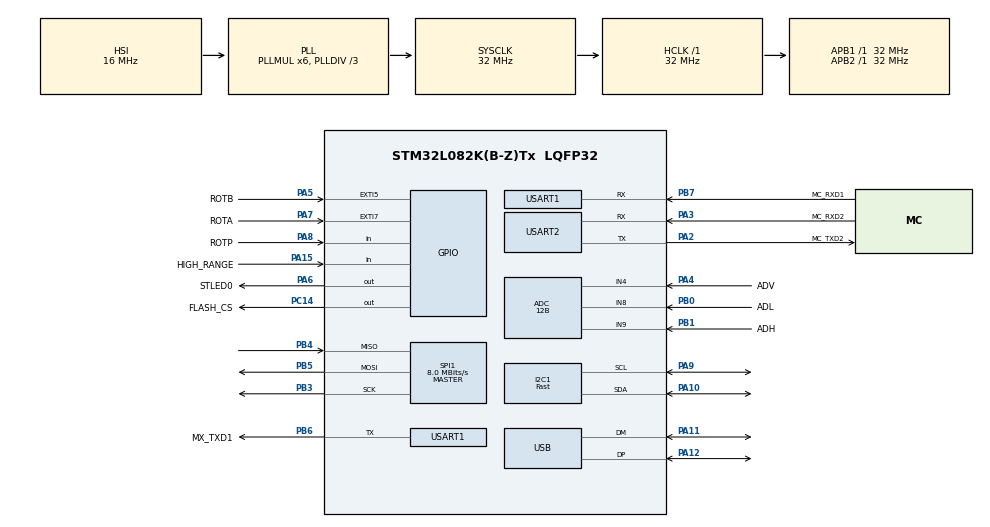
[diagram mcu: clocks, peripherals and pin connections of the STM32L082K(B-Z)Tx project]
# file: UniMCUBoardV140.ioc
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ADC.ClockPrescaler=ADC_CLOCK_ASYNC_DIV64
ADC.ContinuousConvMode=ENABLE
ADC.DMAContinuousRequests=ENABLE
ADC.DataAlign=ADC_DATAALIGN_RIGHT
ADC.DiscontinuousConvMode=DISABLE
ADC.EOCSelection=ADC_EOC_SEQ_CONV
ADC.EnableAnalogWatchDog=false
ADC.ExternalTrigConv=ADC_EXTERNALTRIGCONV_T22_TRGO
ADC.ExternalTrigConvEdge=ADC_EXTERNALTRIGCONVEDGE_RISING
ADC.LowPowerAutoPowerOff=DISABLE
ADC.LowPowerAutoWait=DISABLE
ADC.LowPowerFrequencyMode=DISABLE
ADC.Overrun=ADC_OVR_DATA_PRESERVED
ADC.OversamplingMode=DISABLE
ADC.Resolution=ADC_RESOLUTION_12B
ADC.SamplingTime=ADC_SAMPLETIME_160CYCLES_5
ADC.ScanConvMode=ADC_SCAN_DIRECTION_FORWARD
Dma.ADC.0.Direction=DMA_PERIPH_TO_MEMORY
Dma.ADC.0.Instance=DMA1_Channel1
Dma.ADC.0.MemDataAlignment=DMA_MDATAALIGN_WORD
Dma.ADC.0.MemInc=DMA_MINC_ENABLE
Dma.ADC.0.Mode=DMA_CIRCULAR
Dma.ADC.0.PeriphDataAlignment=DMA_PDATAALIGN_WORD
Dma.ADC.0.PeriphInc=DMA_PINC_DISABLE
Dma.ADC.0.Priority=DMA_PRIORITY_LOW
Dma.Request0=ADC
I2C1.I2C_Speed_Mode=I2C_Fast
I2C1.Timing=0x00300F38
Mcu.Family=STM32L0
Mcu.Name=STM32L082K(B-Z)Tx
Mcu.Package=LQFP32
NVIC.DMA1_Channel1_IRQn=true\:0\:0\:false\:false\:true\:false
NVIC.TIM6_DAC_IRQn=true\:0\:0\:false\:false\:true\:true
NVIC.TIM7_IRQn=true\:0\:0\:false\:false\:true\:true
NVIC.USART1_IRQn=true\:0\:0\:false\:false\:true\:true
NVIC.USART2_IRQn=true\:0\:0\:false\:false\:true\:true
NVIC.USB_IRQn=true\:0\:0\:false\:false\:true\:false
PA10.Mode=I2C
PA10.Signal=I2C1_SDA
PA11.Mode=Device
PA11.Signal=USB_DM
PA12.Mode=Device
PA12.Signal=USB_DP
PA13.Mode=Serial_Wire
PA13.Signal=SYS_SWDIO
PA14.Mode=Serial_Wire
PA14.Signal=SYS_SWCLK
PA15.GPIO_Label=HIGH_RANGE
PA15.Signal=GPIO_Input
PA2.GPIO_Label=MC_TXD2
PA2.Mode=Asynchronous
PA2.Signal=USART2_TX
PA3.GPIO_Label=MC_RXD2
PA3.Mode=Asynchronous
PA3.Signal=USART2_RX
PA4.GPIO_Label=ADV
PA4.Mode=IN4
PA4.Signal=ADC_IN4
PA5.GPIO_Label=ROTB
PA5.Signal=GPXTI5
PA6.GPIO_Label=STLED0
PA6.Signal=GPIO_Output
PA7.GPIO_Label=ROTA
PA7.Signal=GPXTI7
PA8.GPIO_Label=ROTP
PA8.Signal=GPIO_Input
PA9.Mode=I2C
PA9.Signal=I2C1_SCL
PB0.GPIO_Label=ADL
PB0.Mode=IN8
PB0.Signal=ADC_IN8
PB1.GPIO_Label=ADH
PB1.Mode=IN9
PB1.Signal=ADC_IN9
PB3.Mode=Full_Duplex_Master
PB3.Signal=SPI1_SCK
PB4.Mode=Full_Duplex_Master
PB4.Signal=SPI1_MISO
PB5.Mode=Full_Duplex_Master
PB5.Signal=SPI1_MOSI
PB6.GPIO_Label=MX_TXD1
PB6.Mode=Asynchronous
PB6.Signal=USART1_TX
PB7.GPIO_Label=MC_RXD1
PB7.Mode=Asynchronous
PB7.Signal=USART1_RX
PC14-OSC32_IN.GPIO_Label=FLASH_CS
PC14-OSC32_IN.Signal=GPIO_Output
ProjectManager.HeapSize=0x200
ProjectManager.StackSize=0x400
ProjectManager.TargetToolchain=MDK-ARM V5
RCC.AHBFreq_Value=32000000
RCC.APB1Freq_Value=32000000
RCC.APB1TimFreq_Value=32000000
RCC.APB2Freq_Value=32000000
RCC.APB2TimFreq_Value=32000000
RCC.HCLKFreq_Value=32000000
RCC.HSI16_VALUE=16000000
RCC.HSI48MClockSelection=RCC_USBCLKSOURCE_HSI48
RCC.HSI48_VALUE=48000000
RCC.HSI_VALUE=16000000
RCC.LSE_VALUE=32768
RCC.MSI_VALUE=2097000
RCC.PLLDIV=RCC_PLLDIV_3
RCC.PLLMUL=RCC_PLLMUL_6
RCC.SYSCLKFreq_VALUE=32000000
RCC.SYSCLKSource=RCC_SYSCLKSOURCE_PLLCLK
RCC.VCOOutputFreq_Value=96000000
SPI1.BaudRatePrescaler=SPI_BAUDRATEPRESCALER_4
SPI1.CalculateBaudRate=8.0 MBits/s
SPI1.Direction=SPI_DIRECTION_2LINES
SPI1.Mode=SPI_MODE_MASTER
SPI1.VirtualType=VM_MASTER
TIM22.Period=999
TIM22.Prescaler=31
TIM22.TIM_MasterOutputTrigger=TIM_TRGO_UPDATE
TIM6.Period=10000
TIM6.Prescaler=32
TIM7.Period=1000
TIM7.Prescaler=32
USART1.VirtualMode-Asynchronous=VM_ASYNC
USART2.VirtualMode-Asynchronous=VM_ASYNC
USB_DEVICE.CLASS_NAME_FS=CUSTOMHID
USB_DEVICE.VirtualMode=CustomHid
USB_DEVICE.VirtualModeFS=Custom_Hid_FS
VP_ADC_TempSens_Input.Mode=IN-TempSens
VP_ADC_Vref_Input.Mode=IN-Vrefint
VP_IWDG_VS_IWDG.Mode=IWDG_Activate
VP_TIM22_VS_ClockSourceINT.Mode=Internal
VP_TIM6_VS_ClockSourceINT.Mode=Enable_Timer
VP_TIM7_VS_ClockSourceINT.Mode=Enable_Timer
VP_USB_DEVICE_VS_USB_DEVICE_CUSTOM_HID_FS.Mode=CUSTOM_HID_FS
board=custom

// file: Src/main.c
/**
  ******************************************************************************
  * @file           : main.c
  * @brief          : Main program body
  ******************************************************************************
  * This notice applies to any and all portions of this file
  * that are not between comment pairs USER CODE BEGIN and
  * USER CODE END. Other portions of this file, whether
  * inserted by the user or by software development tools
  * are owned by their respective copyright owners.
  *
  * Copyright (c) 2019 STMicroelectronics International N.V.
  * All rights reserved.
  *
  * Redistribution and use in source and binary forms, with or without
  * modification, are permitted, provided that the following conditions are met:
  *
  * 1. Redistribution of source code must retain the above copyright notice,
  *    this list of conditions and the following disclaimer.
  * 2. Redistributions in binary form must reproduce the above copyright notice,
  *    this list of conditions and the following disclaimer in the documentation
  *    and/or other materials provided with the distribution.
  * 3. Neither the name of STMicroelectronics nor the names of other
  *    contributors to this software may be used to endorse or promote products
  *    derived from this software without specific written permission.
  * 4. This software, including modifications and/or derivative works of this
  *    software, must execute solely and exclusively on microcontroller or
  *    microprocessor devices manufactured by or for STMicroelectronics.
  * 5. Redistribution and use of this software other than as permitted under
  *    this license is void and will automatically terminate your rights under
  *    this license.
  *
  * THIS SOFTWARE IS PROVIDED BY STMICROELECTRONICS AND CONTRIBUTORS "AS IS"
  * AND ANY EXPRESS, IMPLIED OR STATUTORY WARRANTIES, INCLUDING, BUT NOT
  * LIMITED TO, THE IMPLIED WARRANTIES OF MERCHANTABILITY, FITNESS FOR A
  * PARTICULAR PURPOSE AND NON-INFRINGEMENT OF THIRD PARTY INTELLECTUAL PROPERTY
  * RIGHTS ARE DISCLAIMED TO THE FULLEST EXTENT PERMITTED BY LAW. IN NO EVENT
  * SHALL STMICROELECTRONICS OR CONTRIBUTORS BE LIABLE FOR ANY DIRECT, INDIRECT,
  * INCIDENTAL, SPECIAL, EXEMPLARY, OR CONSEQUENTIAL DAMAGES (INCLUDING, BUT NOT
  * LIMITED TO, PROCUREMENT OF SUBSTITUTE GOODS OR SERVICES; LOSS OF USE, DATA,
  * OR PROFITS; OR BUSINESS INTERRUPTION) HOWEVER CAUSED AND ON ANY THEORY OF
  * LIABILITY, WHETHER IN CONTRACT, STRICT LIABILITY, OR TORT (INCLUDING
  * NEGLIGENCE OR OTHERWISE) ARISING IN ANY WAY OUT OF THE USE OF THIS SOFTWARE,
  * EVEN IF ADVISED OF THE POSSIBILITY OF SUCH DAMAGE.
  *
  ******************************************************************************
  */
#include "main.h"
#include "stm32l0xx_hal.h"
#include "usb_device.h"

/* USER CODE BEGIN Includes */
#include "ssd1306.h"

/* USER CODE END Includes */

ADC_HandleTypeDef hadc;
DMA_HandleTypeDef hdma_adc;

I2C_HandleTypeDef hi2c1;

IWDG_HandleTypeDef hiwdg;

SPI_HandleTypeDef hspi1;

TIM_HandleTypeDef htim6;
TIM_HandleTypeDef htim7;
TIM_HandleTypeDef htim22;

UART_HandleTypeDef huart1;
UART_HandleTypeDef huart2;

/* USER CODE BEGIN PV */
/* Private variables ---------------------------------------------------------*/
uint32_t OldTick100ms = 0;

///////// ADC Variables and Settings
#define ADC_NUMBER_OF_CHANNELS 5u
#define ADC_NUMBER_OF_SAMPLES 32u
#define ADC_ARRAY_SIZE (ADC_NUMBER_OF_CHANNELS * ADC_NUMBER_OF_SAMPLES) // 3 Channels and 32 samples

#define ADC_ADV 			0u 	// Voltage 						PA4 / AD CHANNEL 4
#define ADC_ADL				1u	// Current Low range 	PB0 / AD CHANNEL 8
#define ADC_ADH				2u 	// Current High range	PB9 / AD CHANNEL 9
#define ADC_INTVREF		3u	// Internal Channel
#define ADC_INTEMPE		4u	// Internal Channel

unsigned long ADCDmaBuffer[ADC_ARRAY_SIZE];
unsigned char ADCDone = 0;

_VoltageMeasurement_type	VoltageMeasurement;
_CurrentMeasurement_type	CurrentMeasurement;

// Display Variables
unsigned char DisplayPage = MAIN_DISPLAY_PAGE0;
unsigned char DisplayClrScr = 0;

volatile unsigned long SecondsTimer = 0;

/* USER CODE END PV */

void SystemClock_Config(void);
static void MX_GPIO_Init(void);
static void MX_DMA_Init(void);
static void MX_ADC_Init(void);
static void MX_I2C1_Init(void);
static void MX_IWDG_Init(void);
static void MX_TIM6_Init(void);
static void MX_TIM7_Init(void);
static void MX_USART1_UART_Init(void);
static void MX_USART2_UART_Init(void);
static void MX_TIM22_Init(void);
static void MX_SPI1_Init(void);

/* USER CODE BEGIN PFP */
/* Private function prototypes -----------------------------------------------*/
unsigned char GetANFHighRangeStatus(void);
void SetStatusLED(unsigned char LedState);

/* USER CODE END PFP */

/* USER CODE BEGIN 0 */

void HAL_SYSTICK_Callback(void)
{
	static unsigned int Count1sec = 0;

	if(++Count1sec >= 1000)
	{
		Count1sec = 0;
	  SecondsTimer++;
	}
}

// ADC ConvCallback
void HAL_ADC_ConvCpltCallback(ADC_HandleTypeDef* hadc1)
{
	HAL_ADC_Stop_DMA(&hadc);
	ADCDone = 1;
}

// Ovde radimo merenje napona sa AD konvertora
void ADTasks(void)
{
	unsigned long ADCRawAcu[ADC_NUMBER_OF_CHANNELS];
	unsigned short ADCRawFiltered[ADC_NUMBER_OF_CHANNELS];
	unsigned char Pointer, Sample;

	if(ADCDone == 0)
		return;

	ADCDone = 0;

	// Get results from DMA buffer
	ADCRawAcu[ADC_ADV] = 0;
	ADCRawAcu[ADC_ADL] = 0;
	ADCRawAcu[ADC_ADH] = 0;

	ADCRawAcu[ADC_INTEMPE] = 0;
	ADCRawAcu[ADC_INTVREF] = 0;

	Pointer = 0;

	for(Sample=0; Sample<ADC_NUMBER_OF_SAMPLES; Sample++)
	{

		ADCRawAcu[ADC_ADV] += ADCDmaBuffer[Pointer + 0];
		ADCRawAcu[ADC_ADL] += ADCDmaBuffer[Pointer + 1];
		ADCRawAcu[ADC_ADH] += ADCDmaBuffer[Pointer + 2];
		ADCRawAcu[ADC_INTEMPE] += ADCDmaBuffer[Pointer + 3];
		ADCRawAcu[ADC_INTVREF] += ADCDmaBuffer[Pointer + 4];

		Pointer += ADC_NUMBER_OF_CHANNELS;
	}

	ADCRawFiltered[ADC_ADV] = ADCRawAcu[ADC_ADV] / ADC_NUMBER_OF_SAMPLES;
	ADCRawFiltered[ADC_ADL] = ADCRawAcu[ADC_ADL] / ADC_NUMBER_OF_SAMPLES;
	ADCRawFiltered[ADC_ADH] = ADCRawAcu[ADC_ADH] / ADC_NUMBER_OF_SAMPLES;
	ADCRawFiltered[ADC_INTEMPE] = ADCRawAcu[ADC_INTEMPE] / ADC_NUMBER_OF_SAMPLES;
	ADCRawFiltered[ADC_INTVREF] = ADCRawAcu[ADC_INTVREF] / ADC_NUMBER_OF_SAMPLES;

	VoltageMeasurement.ADCRaw = ADCRawFiltered[ADC_ADV];
	CurrentMeasurement.ADCLChRaw = ADCRawFiltered[ADC_ADL];
	CurrentMeasurement.ADCHChRaw = ADCRawFiltered[ADC_ADH];

	/////////////////

	// This starts the ADC in interrupt mode
	HAL_ADC_Start_DMA(&hadc, (uint32_t*)&ADCDmaBuffer, ADC_ARRAY_SIZE);

	/////////////////

	// Measure Voltage Calculation
	#define RESISTOR_DIVIDER_UP	62.00 // 62k 0.1%
	#define RESISTOR_DIVIDER_DN	 4.70 // 4k7 0.1%

	float DividerRatio = (float)RESISTOR_DIVIDER_DN/((float)RESISTOR_DIVIDER_UP + (float)RESISTOR_DIVIDER_DN);
	VoltageMeasurement.ADCAverage = (float)VoltageMeasurement.ADCRaw * ((float)AD_REFERENCE/(float)AD_RESOLUTION) / (float) DividerRatio; //

	VoltageMeasurement.Cumulative += VoltageMeasurement.ADCAverage;

	// Measure Current Calculation ADL
	#define ADC_LO_RANGE_CURRENT	0.005 // 5mA
	#define ADC_LO_RANGE_VOLTAGE	2.500 // 2.5V

	#define ADC_HI_RANGE_CURRENT	2.000 // 2A
	#define ADC_HI_RANGE_VOLTAGE	2.500 // 2.5V

	CurrentMeasurement.ADCLChAverage = (float)CurrentMeasurement.ADCLChRaw * ((float)AD_REFERENCE/(float)AD_RESOLUTION) * (float)ADC_LO_RANGE_CURRENT / (float)ADC_LO_RANGE_VOLTAGE; //

	// Measure Current Calculation ADL
	CurrentMeasurement.ADCHChAverage = (float)CurrentMeasurement.ADCHChRaw * ((float)AD_REFERENCE/(float)AD_RESOLUTION) * (float)ADC_HI_RANGE_CURRENT / (float)ADC_HI_RANGE_VOLTAGE; //

	// Cumulative ADC measurements // Sample period 100ms
	if(GetANFHighRangeStatus() == ANF_HIGH_RANGE)
	{
		// HIGH RANGE

		SetStatusLED(LED_ON);

		CurrentMeasurement.ADCHCumulative += CurrentMeasurement.ADCHChAverage;
	}
	else
	{
		// LOW RANGE

		SetStatusLED(LED_OFF);

		CurrentMeasurement.ADCLCumulative += CurrentMeasurement.ADCLChAverage;
	}

	CurrentMeasurement.Samples ++;

}

void ShowDisplayTask(void)
{
	char LCDBuf[32];

	if(DisplayClrScr)
	{
		DisplayClrScr = 0;

		ssd1306_Fill(White);
		ssd1306_UpdateScreen();
	}

	switch (DisplayPage)
	{
		case MAIN_DISPLAY_PAGE0:
		{
			ssd1306_SetCursor(5,5);
			ssd1306_WriteString("mikroAMP V1",Font_11x18,Black);

			sprintf(LCDBuf, "Ihigh: %3.3fA", CurrentMeasurement.ADCHChAverage);
			ssd1306_SetCursor(5,24);
			ssd1306_WriteString(LCDBuf, Font_7x10,Black);

			sprintf(LCDBuf, "Ilow: %3.3fmA", CurrentMeasurement.ADCLChAverage * 1000.00);
			ssd1306_SetCursor(5,35);
			ssd1306_WriteString(LCDBuf, Font_7x10,Black);

			sprintf(LCDBuf, "Volt:%3.3fV", VoltageMeasurement.ADCAverage);
			ssd1306_SetCursor(5,46);
			ssd1306_WriteString(LCDBuf, Font_7x10,Black);
		}
		break;

		case MAIN_DISPLAY_PAGE1:
		{
			sprintf(LCDBuf, "Ih: %3.3fA", CurrentMeasurement.ADCHChAverage);
			ssd1306_SetCursor(5,10);
			ssd1306_WriteString(LCDBuf, Font_11x18,Black);

			sprintf(LCDBuf, "Il: %3.3fmA", CurrentMeasurement.ADCLChAverage * 1000.00);
			ssd1306_SetCursor(5,38);
			ssd1306_WriteString(LCDBuf, Font_11x18,Black);

		}
		break;

		case MAIN_DISPLAY_PAGE2:
		{
			sprintf(LCDBuf, "Ihigh [A]");
			ssd1306_SetCursor(5, 5);
			ssd1306_WriteString(LCDBuf, Font_11x18, Black);

			sprintf(LCDBuf, "%3.3f", CurrentMeasurement.ADCHChAverage);
			ssd1306_SetCursor(5, 32);
			ssd1306_WriteString(LCDBuf, Font_16x26, Black);
		}
		break;

		case MAIN_DISPLAY_PAGE3:
		{
			sprintf(LCDBuf, "Ilow [mA]");
			ssd1306_SetCursor(5, 5);
			ssd1306_WriteString(LCDBuf, Font_11x18, Black);

			sprintf(LCDBuf, "%3.3f", CurrentMeasurement.ADCLChAverage * 1000.00);
			ssd1306_SetCursor(5, 32);
			ssd1306_WriteString(LCDBuf, Font_16x26, Black);
		}
		break;

		case MAIN_DISPLAY_PAGE4:
		{
			sprintf(LCDBuf, "Voltage [V]");
			ssd1306_SetCursor(5, 5);
			ssd1306_WriteString(LCDBuf, Font_11x18, Black);

			sprintf(LCDBuf, "%3.3f", VoltageMeasurement.ADCAverage);
			ssd1306_SetCursor(5, 32);
			ssd1306_WriteString(LCDBuf, Font_16x26,Black);
		}
		break;

		case MAIN_DISPLAY_PAGE5: // Average Current summ in period of time
		{
			sprintf(LCDBuf, "Average:");
			ssd1306_SetCursor(5, 5);
			ssd1306_WriteString(LCDBuf, Font_11x18, Black);

			float CurrentCumulativeCalc;
			CurrentCumulativeCalc = ((float)CurrentMeasurement.ADCHCumulative + (float)CurrentMeasurement.ADCLCumulative) * 1000.00;
			CurrentCumulativeCalc /= (float)CurrentMeasurement.Samples; // We have 100ms sampling period, so must divide for 1sec resolution

			sprintf(LCDBuf, "%3.3f mA", CurrentCumulativeCalc);
			ssd1306_SetCursor(5, 25);
			ssd1306_WriteString(LCDBuf, Font_11x18,Black);

			unsigned char TimeHours;
			unsigned char TimeMinutes;
			unsigned char TimeSeconds;

			TimeHours = SecondsTimer / 3600;
			TimeMinutes = (SecondsTimer / 60) % 60;
			TimeSeconds = SecondsTimer % 60;

			sprintf(LCDBuf, "%02d:%02d:%02d", TimeHours, TimeMinutes, TimeSeconds);
			ssd1306_SetCursor(5, 43);
			ssd1306_WriteString(LCDBuf, Font_11x18,Black);
		}
		break;

		case MAIN_DISPLAY_PAGE6:
		{
			ssd1306_SetCursor(5,5);
			ssd1306_WriteString(DEVICE_NAME,Font_11x18,Black);

			sprintf(LCDBuf, FIRMWARE_VERSION);
			ssd1306_SetCursor(5,24);
			ssd1306_WriteString(LCDBuf, Font_7x10,Black);

			sprintf(LCDBuf, HARDWARE_VERSION);
			ssd1306_SetCursor(5,35);
			ssd1306_WriteString(LCDBuf, Font_7x10,Black);

			sprintf(LCDBuf, WEBSITE_INFO);
			ssd1306_SetCursor(5,46);
			ssd1306_WriteString(LCDBuf, Font_7x10,Black);
		}
		break;

		default:
			sprintf(LCDBuf, "Unknown page");
			ssd1306_SetCursor(0,5);
			ssd1306_WriteString(LCDBuf, Font_7x10,Black);
			break;

	}

	ssd1306_UpdateScreen();
}

void ButtonTask(void)
{
	static unsigned char Debounce = 0;
	static unsigned char ButtonIsPressedCnt = 0;

	if(HAL_GPIO_ReadPin(ROTP_GPIO_Port, ROTP_Pin) == GPIO_PIN_RESET) // Button is pressed
	{
		if(++ButtonIsPressedCnt > 30) // If button is pressed more than 5 seconds
		{
			ButtonIsPressedCnt = 30;

			if(DisplayPage == MAIN_DISPLAY_PAGE5) // Average Current Reset
			{
				// Reset Timer and Cumulative varibles
				SecondsTimer = 0;

				CurrentMeasurement.ADCHCumulative = 0.0;
				CurrentMeasurement.ADCLCumulative = 0.0;
				CurrentMeasurement.Samples = 0;
			}
		}
	}
	else
	{
		if((ButtonIsPressedCnt > 0) && (ButtonIsPressedCnt < 20)) // Short Button Press
		{
			if(++DisplayPage > MAIN_DISPLAY_LAST_PAGE)
				DisplayPage = MAIN_DISPLAY_PAGE0;

			DisplayClrScr = 1;
		}

		ButtonIsPressedCnt = 0;

	}
}

unsigned char GetANFHighRangeStatus(void)
{
	if(HAL_GPIO_ReadPin(HIGH_RANGE_GPIO_Port, HIGH_RANGE_Pin) == GPIO_PIN_RESET) // High range is detected
	{
		return(ANF_HIGH_RANGE);
	}
	else
	{
		return(ANF_LOW_RANGE);
	}
}

void SetStatusLED(unsigned char LedState)
{
	if(LedState == LED_ON)
	{
		HAL_GPIO_WritePin(STLED0_GPIO_Port, STLED0_Pin, GPIO_PIN_RESET); // Inverted Becouse LED is connected to Power +VDD
	}
	else
	{
		HAL_GPIO_WritePin(STLED0_GPIO_Port, STLED0_Pin, GPIO_PIN_SET); // Inverted Becouse LED inverted to Power +VDD
	}
}

/* USER CODE END 0 */

int main(void)
{

  /* MCU Configuration----------------------------------------------------------*/

  /* Reset of all peripherals, Initializes the Flash interface and the Systick. */
  HAL_Init();

  /* Configure the system clock */
  SystemClock_Config();

  /* Initialize all configured peripherals */
  MX_GPIO_Init();
  MX_DMA_Init();
  MX_ADC_Init();
  MX_I2C1_Init();
  //MX_IWDG_Init();
  MX_TIM6_Init();
  MX_TIM7_Init();
  MX_USART1_UART_Init();
  MX_USART2_UART_Init();
  MX_USB_DEVICE_Init();
  MX_TIM22_Init();
  MX_SPI1_Init();
  /* USER CODE BEGIN 2 */

	// ADC Callibration and start
	HAL_ADCEx_Calibration_Start(&hadc, ADC_SINGLE_ENDED);

	// This starts the ADC in interrupt mode
	HAL_ADC_Start_DMA(&hadc, (uint32_t*)&ADCDmaBuffer, ADC_ARRAY_SIZE);

	HAL_TIM_Base_Start(&htim22); // Used for ADC sample time

	// OLED Display Init
	ssd1306_Init();

	HAL_Delay(1000);
  ssd1306_Fill(White);
  ssd1306_UpdateScreen();

  HAL_Delay(1000);

	// Variables initialisation
	CurrentMeasurement.ADCHCumulative = 0.0;
	CurrentMeasurement.ADCLCumulative = 0.0;
	VoltageMeasurement.Cumulative = 0.0;
	CurrentMeasurement.Samples = 0;

  /* USER CODE END 2 */

  /* Infinite loop */
  /* USER CODE BEGIN WHILE */
  while (1)
  {
		// ADC tasks
		ADTasks();

		if(HAL_GetTick() - OldTick100ms > 100)
		{
			OldTick100ms = HAL_GetTick();

			//HAL_GPIO_TogglePin(STLED0_GPIO_Port, STLED0_Pin);

			// Display refresh and show data
			ButtonTask();

			// Scan buttons
			ShowDisplayTask();
		}

  /* USER CODE END WHILE */

  }

}

void SystemClock_Config(void)
{

  RCC_OscInitTypeDef RCC_OscInitStruct;
  RCC_ClkInitTypeDef RCC_ClkInitStruct;
  RCC_PeriphCLKInitTypeDef PeriphClkInit;

    /**Configure the main internal regulator output voltage
    */
  __HAL_PWR_VOLTAGESCALING_CONFIG(PWR_REGULATOR_VOLTAGE_SCALE1);

    /**Initializes the CPU, AHB and APB busses clocks
    */
  RCC_OscInitStruct.OscillatorType = RCC_OSCILLATORTYPE_HSI|RCC_OSCILLATORTYPE_LSI
                              |RCC_OSCILLATORTYPE_HSI48;
  RCC_OscInitStruct.HSIState = RCC_HSI_ON;
  RCC_OscInitStruct.HSICalibrationValue = 16;
  RCC_OscInitStruct.LSIState = RCC_LSI_ON;
  RCC_OscInitStruct.HSI48State = RCC_HSI48_ON;
  RCC_OscInitStruct.PLL.PLLState = RCC_PLL_ON;
  RCC_OscInitStruct.PLL.PLLSource = RCC_PLLSOURCE_HSI;
  RCC_OscInitStruct.PLL.PLLMUL = RCC_PLLMUL_6;
  RCC_OscInitStruct.PLL.PLLDIV = RCC_PLLDIV_3;
  if (HAL_RCC_OscConfig(&RCC_OscInitStruct) != HAL_OK)
  {
    _Error_Handler(__FILE__, __LINE__);
  }

    /**Initializes the CPU, AHB and APB busses clocks
    */
  RCC_ClkInitStruct.ClockType = RCC_CLOCKTYPE_HCLK|RCC_CLOCKTYPE_SYSCLK
                              |RCC_CLOCKTYPE_PCLK1|RCC_CLOCKTYPE_PCLK2;
  RCC_ClkInitStruct.SYSCLKSource = RCC_SYSCLKSOURCE_PLLCLK;
  RCC_ClkInitStruct.AHBCLKDivider = RCC_SYSCLK_DIV1;
  RCC_ClkInitStruct.APB1CLKDivider = RCC_HCLK_DIV1;
  RCC_ClkInitStruct.APB2CLKDivider = RCC_HCLK_DIV1;

  if (HAL_RCC_ClockConfig(&RCC_ClkInitStruct, FLASH_LATENCY_1) != HAL_OK)
  {
    _Error_Handler(__FILE__, __LINE__);
  }

  PeriphClkInit.PeriphClockSelection = RCC_PERIPHCLK_USART1|RCC_PERIPHCLK_USART2
                              |RCC_PERIPHCLK_I2C1|RCC_PERIPHCLK_USB;
  PeriphClkInit.Usart1ClockSelection = RCC_USART1CLKSOURCE_PCLK2;
  PeriphClkInit.Usart2ClockSelection = RCC_USART2CLKSOURCE_PCLK1;
  PeriphClkInit.I2c1ClockSelection = RCC_I2C1CLKSOURCE_PCLK1;
  PeriphClkInit.UsbClockSelection = RCC_USBCLKSOURCE_HSI48;
  if (HAL_RCCEx_PeriphCLKConfig(&PeriphClkInit) != HAL_OK)
  {
    _Error_Handler(__FILE__, __LINE__);
  }

    /**Configure the Systick interrupt time
    */
  HAL_SYSTICK_Config(HAL_RCC_GetHCLKFreq()/1000);

    /**Configure the Systick
    */
  HAL_SYSTICK_CLKSourceConfig(SYSTICK_CLKSOURCE_HCLK);

  /* SysTick_IRQn interrupt configuration */
  HAL_NVIC_SetPriority(SysTick_IRQn, 0, 0);
}

/* ADC init function */
static void MX_ADC_Init(void)
{

  ADC_ChannelConfTypeDef sConfig;

    /**Configure the global features of the ADC (Clock, Resolution, Data Alignment and number of conversion)
    */
  hadc.Instance = ADC1;
  hadc.Init.OversamplingMode = DISABLE;
  hadc.Init.ClockPrescaler = ADC_CLOCK_ASYNC_DIV64;
  hadc.Init.Resolution = ADC_RESOLUTION_12B;
  hadc.Init.SamplingTime = ADC_SAMPLETIME_160CYCLES_5;
  hadc.Init.ScanConvMode = ADC_SCAN_DIRECTION_FORWARD;
  hadc.Init.DataAlign = ADC_DATAALIGN_RIGHT;
  hadc.Init.ContinuousConvMode = ENABLE;
  hadc.Init.DiscontinuousConvMode = DISABLE;
  hadc.Init.ExternalTrigConvEdge = ADC_EXTERNALTRIGCONVEDGE_RISING;
  hadc.Init.ExternalTrigConv = ADC_EXTERNALTRIGCONV_T22_TRGO;
  hadc.Init.DMAContinuousRequests = ENABLE;
  hadc.Init.EOCSelection = ADC_EOC_SEQ_CONV;
  hadc.Init.Overrun = ADC_OVR_DATA_PRESERVED;
  hadc.Init.LowPowerAutoWait = DISABLE;
  hadc.Init.LowPowerFrequencyMode = DISABLE;
  hadc.Init.LowPowerAutoPowerOff = DISABLE;
  if (HAL_ADC_Init(&hadc) != HAL_OK)
  {
    _Error_Handler(__FILE__, __LINE__);
  }

    /**Configure for the selected ADC regular channel to be converted.
    */
  sConfig.Channel = ADC_CHANNEL_4;
  sConfig.Rank = ADC_RANK_CHANNEL_NUMBER;
  if (HAL_ADC_ConfigChannel(&hadc, &sConfig) != HAL_OK)
  {
    _Error_Handler(__FILE__, __LINE__);
  }

    /**Configure for the selected ADC regular channel to be converted.
    */
  sConfig.Channel = ADC_CHANNEL_8;
  if (HAL_ADC_ConfigChannel(&hadc, &sConfig) != HAL_OK)
  {
    _Error_Handler(__FILE__, __LINE__);
  }

    /**Configure for the selected ADC regular channel to be converted.
    */
  sConfig.Channel = ADC_CHANNEL_9;
  if (HAL_ADC_ConfigChannel(&hadc, &sConfig) != HAL_OK)
  {
    _Error_Handler(__FILE__, __LINE__);
  }

    /**Configure for the selected ADC regular channel to be converted.
    */
  sConfig.Channel = ADC_CHANNEL_TEMPSENSOR;
  if (HAL_ADC_ConfigChannel(&hadc, &sConfig) != HAL_OK)
  {
    _Error_Handler(__FILE__, __LINE__);
  }

    /**Configure for the selected ADC regular channel to be converted.
    */
  sConfig.Channel = ADC_CHANNEL_VREFINT;
  if (HAL_ADC_ConfigChannel(&hadc, &sConfig) != HAL_OK)
  {
    _Error_Handler(__FILE__, __LINE__);
  }

}

/* I2C1 init function */
static void MX_I2C1_Init(void)
{

  hi2c1.Instance = I2C1;
  hi2c1.Init.Timing = 0x00300F38;
  hi2c1.Init.OwnAddress1 = 0;
  hi2c1.Init.AddressingMode = I2C_ADDRESSINGMODE_7BIT;
  hi2c1.Init.DualAddressMode = I2C_DUALADDRESS_DISABLE;
  hi2c1.Init.OwnAddress2 = 0;
  hi2c1.Init.OwnAddress2Masks = I2C_OA2_NOMASK;
  hi2c1.Init.GeneralCallMode = I2C_GENERALCALL_DISABLE;
  hi2c1.Init.NoStretchMode = I2C_NOSTRETCH_DISABLE;
  if (HAL_I2C_Init(&hi2c1) != HAL_OK)
  {
    _Error_Handler(__FILE__, __LINE__);
  }

    /**Configure Analogue filter
    */
  if (HAL_I2CEx_ConfigAnalogFilter(&hi2c1, I2C_ANALOGFILTER_ENABLE) != HAL_OK)
  {
    _Error_Handler(__FILE__, __LINE__);
  }

    /**Configure Digital filter
    */
  if (HAL_I2CEx_ConfigDigitalFilter(&hi2c1, 0) != HAL_OK)
  {
    _Error_Handler(__FILE__, __LINE__);
  }

}

/* IWDG init function */
static void MX_IWDG_Init(void)
{

  hiwdg.Instance = IWDG;
  hiwdg.Init.Prescaler = IWDG_PRESCALER_4;
  hiwdg.Init.Window = 4095;
  hiwdg.Init.Reload = 4095;
  if (HAL_IWDG_Init(&hiwdg) != HAL_OK)
  {
    _Error_Handler(__FILE__, __LINE__);
  }

}

/* SPI1 init function */
static void MX_SPI1_Init(void)
{

  /* SPI1 parameter configuration*/
  hspi1.Instance = SPI1;
  hspi1.Init.Mode = SPI_MODE_MASTER;
  hspi1.Init.Direction = SPI_DIRECTION_2LINES;
  hspi1.Init.DataSize = SPI_DATASIZE_8BIT;
  hspi1.Init.CLKPolarity = SPI_POLARITY_LOW;
  hspi1.Init.CLKPhase = SPI_PHASE_1EDGE;
  hspi1.Init.NSS = SPI_NSS_SOFT;
  hspi1.Init.BaudRatePrescaler = SPI_BAUDRATEPRESCALER_2;
  hspi1.Init.FirstBit = SPI_FIRSTBIT_MSB;
  hspi1.Init.TIMode = SPI_TIMODE_DISABLE;
  hspi1.Init.CRCCalculation = SPI_CRCCALCULATION_DISABLE;
  hspi1.Init.CRCPolynomial = 7;
  if (HAL_SPI_Init(&hspi1) != HAL_OK)
  {
    _Error_Handler(__FILE__, __LINE__);
  }

}

/* TIM6 init function */
static void MX_TIM6_Init(void)
{

  TIM_MasterConfigTypeDef sMasterConfig;

  htim6.Instance = TIM6;
  htim6.Init.Prescaler = 32;
  htim6.Init.CounterMode = TIM_COUNTERMODE_UP;
  htim6.Init.Period = 10000;
  if (HAL_TIM_Base_Init(&htim6) != HAL_OK)
  {
    _Error_Handler(__FILE__, __LINE__);
  }

  sMasterConfig.MasterOutputTrigger = TIM_TRGO_RESET;
  sMasterConfig.MasterSlaveMode = TIM_MASTERSLAVEMODE_DISABLE;
  if (HAL_TIMEx_MasterConfigSynchronization(&htim6, &sMasterConfig) != HAL_OK)
  {
    _Error_Handler(__FILE__, __LINE__);
  }

}

/* TIM7 init function */
static void MX_TIM7_Init(void)
{

  TIM_MasterConfigTypeDef sMasterConfig;

  htim7.Instance = TIM7;
  htim7.Init.Prescaler = 32;
  htim7.Init.CounterMode = TIM_COUNTERMODE_UP;
  htim7.Init.Period = 1000;
  if (HAL_TIM_Base_Init(&htim7) != HAL_OK)
  {
    _Error_Handler(__FILE__, __LINE__);
  }

  sMasterConfig.MasterOutputTrigger = TIM_TRGO_RESET;
  sMasterConfig.MasterSlaveMode = TIM_MASTERSLAVEMODE_DISABLE;
  if (HAL_TIMEx_MasterConfigSynchronization(&htim7, &sMasterConfig) != HAL_OK)
  {
    _Error_Handler(__FILE__, __LINE__);
  }

}

/* TIM22 init function */
static void MX_TIM22_Init(void)
{

  TIM_ClockConfigTypeDef sClockSourceConfig;
  TIM_MasterConfigTypeDef sMasterConfig;

  htim22.Instance = TIM22;
  htim22.Init.Prescaler = 31;
  htim22.Init.CounterMode = TIM_COUNTERMODE_UP;
  htim22.Init.Period = 999;
  htim22.Init.ClockDivision = TIM_CLOCKDIVISION_DIV1;
  if (HAL_TIM_Base_Init(&htim22) != HAL_OK)
  {
    _Error_Handler(__FILE__, __LINE__);
  }

  sClockSourceConfig.ClockSource = TIM_CLOCKSOURCE_INTERNAL;
  if (HAL_TIM_ConfigClockSource(&htim22, &sClockSourceConfig) != HAL_OK)
  {
    _Error_Handler(__FILE__, __LINE__);
  }

  sMasterConfig.MasterOutputTrigger = TIM_TRGO_UPDATE;
  sMasterConfig.MasterSlaveMode = TIM_MASTERSLAVEMODE_DISABLE;
  if (HAL_TIMEx_MasterConfigSynchronization(&htim22, &sMasterConfig) != HAL_OK)
  {
    _Error_Handler(__FILE__, __LINE__);
  }

}

/* USART1 init function */
static void MX_USART1_UART_Init(void)
{

  huart1.Instance = USART1;
  huart1.Init.BaudRate = 115200;
  huart1.Init.WordLength = UART_WORDLENGTH_8B;
  huart1.Init.StopBits = UART_STOPBITS_1;
  huart1.Init.Parity = UART_PARITY_NONE;
  huart1.Init.Mode = UART_MODE_TX_RX;
  huart1.Init.HwFlowCtl = UART_HWCONTROL_NONE;
  huart1.Init.OverSampling = UART_OVERSAMPLING_16;
  huart1.Init.OneBitSampling = UART_ONE_BIT_SAMPLE_DISABLE;
  huart1.AdvancedInit.AdvFeatureInit = UART_ADVFEATURE_NO_INIT;
  if (HAL_UART_Init(&huart1) != HAL_OK)
  {
    _Error_Handler(__FILE__, __LINE__);
  }

}

/* USART2 init function */
static void MX_USART2_UART_Init(void)
{

  huart2.Instance = USART2;
  huart2.Init.BaudRate = 115200;
  huart2.Init.WordLength = UART_WORDLENGTH_8B;
  huart2.Init.StopBits = UART_STOPBITS_1;
  huart2.Init.Parity = UART_PARITY_NONE;
  huart2.Init.Mode = UART_MODE_TX_RX;
  huart2.Init.HwFlowCtl = UART_HWCONTROL_NONE;
  huart2.Init.OverSampling = UART_OVERSAMPLING_16;
  huart2.Init.OneBitSampling = UART_ONE_BIT_SAMPLE_DISABLE;
  huart2.AdvancedInit.AdvFeatureInit = UART_ADVFEATURE_NO_INIT;
  if (HAL_UART_Init(&huart2) != HAL_OK)
  {
    _Error_Handler(__FILE__, __LINE__);
  }

}

static void MX_DMA_Init(void)
{
  /* DMA controller clock enable */
  __HAL_RCC_DMA1_CLK_ENABLE();

  /* DMA interrupt init */
  /* DMA1_Channel1_IRQn interrupt configuration */
  HAL_NVIC_SetPriority(DMA1_Channel1_IRQn, 0, 0);
  HAL_NVIC_EnableIRQ(DMA1_Channel1_IRQn);

}

/** Configure pins as
        * Analog
        * Input
        * Output
        * EVENT_OUT
        * EXTI
*/
static void MX_GPIO_Init(void)
{

  GPIO_InitTypeDef GPIO_InitStruct;

  /* GPIO Ports Clock Enable */
  __HAL_RCC_GPIOC_CLK_ENABLE();
  __HAL_RCC_GPIOA_CLK_ENABLE();
  __HAL_RCC_GPIOB_CLK_ENABLE();

  /*Configure GPIO pin Output Level */
  HAL_GPIO_WritePin(FLASH_CS_GPIO_Port, FLASH_CS_Pin, GPIO_PIN_RESET);

  /*Configure GPIO pin Output Level */
  HAL_GPIO_WritePin(STLED0_GPIO_Port, STLED0_Pin, GPIO_PIN_RESET);

  /*Configure GPIO pin : FLASH_CS_Pin */
  GPIO_InitStruct.Pin = FLASH_CS_Pin;
  GPIO_InitStruct.Mode = GPIO_MODE_OUTPUT_PP;
  GPIO_InitStruct.Pull = GPIO_NOPULL;
  GPIO_InitStruct.Speed = GPIO_SPEED_FREQ_LOW;
  HAL_GPIO_Init(FLASH_CS_GPIO_Port, &GPIO_InitStruct);

  /*Configure GPIO pins : ROTB_Pin ROTA_Pin */
  GPIO_InitStruct.Pin = ROTB_Pin|ROTA_Pin;
  GPIO_InitStruct.Mode = GPIO_MODE_IT_RISING;
  GPIO_InitStruct.Pull = GPIO_PULLUP;
  HAL_GPIO_Init(GPIOA, &GPIO_InitStruct);

  /*Configure GPIO pin : STLED0_Pin */
  GPIO_InitStruct.Pin = STLED0_Pin;
  GPIO_InitStruct.Mode = GPIO_MODE_OUTPUT_PP;
  GPIO_InitStruct.Pull = GPIO_NOPULL;
  GPIO_InitStruct.Speed = GPIO_SPEED_FREQ_LOW;
  HAL_GPIO_Init(STLED0_GPIO_Port, &GPIO_InitStruct);

  /*Configure GPIO pins : ROTP_Pin HIGH_RANGE_Pin */
  GPIO_InitStruct.Pin = ROTP_Pin|HIGH_RANGE_Pin;
  GPIO_InitStruct.Mode = GPIO_MODE_INPUT;
  GPIO_InitStruct.Pull = GPIO_PULLUP;
  HAL_GPIO_Init(GPIOA, &GPIO_InitStruct);

}

void _Error_Handler(char *file, int line)
{
  while(1)
  {
  }
}

/************************ (C) COPYRIGHT STMicroelectronics *****END OF FILE****/
